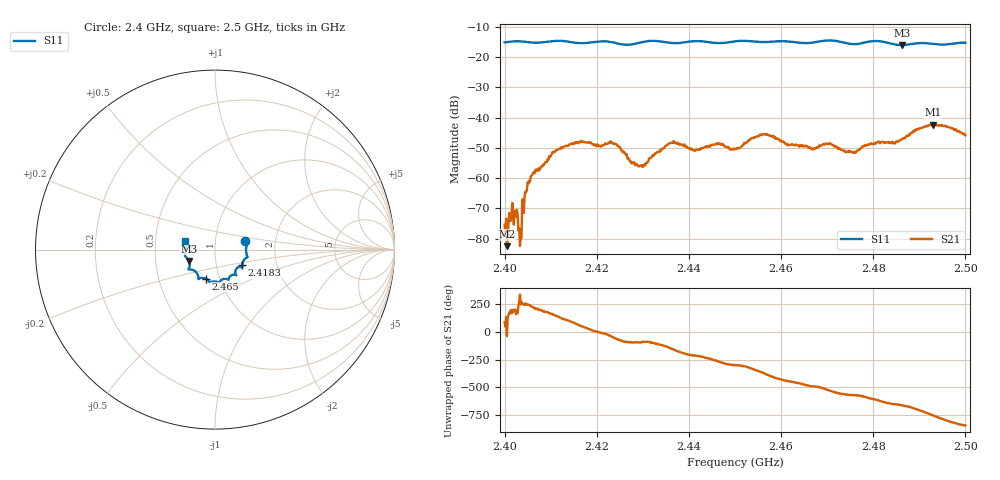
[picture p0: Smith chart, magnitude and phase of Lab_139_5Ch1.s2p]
# Hz S RI R 50
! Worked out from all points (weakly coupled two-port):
!   601 points, 2.4 GHz to 2.5 GHz, reference 50 ohm
!   highest |S21| = -42.33 dB at 2.493 GHz (marker M1); lowest = -82.5 dB at 2.4005 GHz (marker M2)
!   lowest |S11| = -16.0 dB at 2.4862 GHz (marker M3), VSWR 1.37, Z = 37.1 - j4.83 ohm
!   |S11| at or under -10 dB: start of sweep to end of sweep
!   S12 and S22 are empty: the file has one direction only
!   S11 on the Smith chart (normalised r, x): 2.4 GHz: 1.40, +0.13; 2.4183 GHz: 1.33, -0.24; 2.465 GHz: 0.86, -0.29; 2.5 GHz: 0.71, +0.07
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2.4e9  0.1689 0.0458  1.27e-05 0.000169  0 0  0 0
2.4005e9  0.1718 0.0429  5.84e-05 -4.66e-05  0 0  0 0
2.402167e9  0.1788 0.0355  -0.00028 -4.88e-05  0 0  0 0
2.4035e9  0.1797 0.0299  -3.93e-05 -9.36e-05  0 0  0 0
2.404833e9  0.1766 0.0203  -0.000237 -0.000581  0 0  0 0
2.406333e9  0.1732 0.00467  -0.00103 -0.000711  0 0  0 0
2.410833e9  0.1808 -0.0386  -0.00235 0.00126  0 0  0 0
2.416667e9  0.1553 -0.0686  0.00263 0.00318  0 0  0 0
2.418333e9  0.1501 -0.0872  0.00356 0.00162  0 0  0 0
2.4235e9  0.146 -0.0969  0.00251 -0.00278  0 0  0 0
2.4295e9  0.1131 -0.133  -0.000187 -0.0016  0 0  0 0
2.433333e9  0.117 -0.1413  -0.00108 -0.00247  0 0  0 0
2.4365e9  0.0947 -0.1421  -0.0035 -0.0017  0 0  0 0
2.45e9  0.0254 -0.1806  0.00148 0.00267  0 0  0 0
2.4565e9  -0.00545 -0.1773  0.00503 -0.00168  0 0  0 0
2.465e9  -0.0527 -0.1621  -0.00146 -0.00301  0 0  0 0
2.466667e9  -0.0713 -0.1576  -0.00204 -0.0023  0 0  0 0
2.475833e9  -0.1089 -0.1222  -0.0022 0.0014  0 0  0 0
2.483333e9  -0.1422 -0.0958  0.000966 0.00385  0 0  0 0
2.486167e9  -0.1445 -0.0635  0.00244 0.00369  0 0  0 0
2.493e9  -0.1644 -0.019  0.00617 -0.00452  0 0  0 0
2.5e9  -0.1666 0.047  -0.003 -0.00411  0 0  0 0
